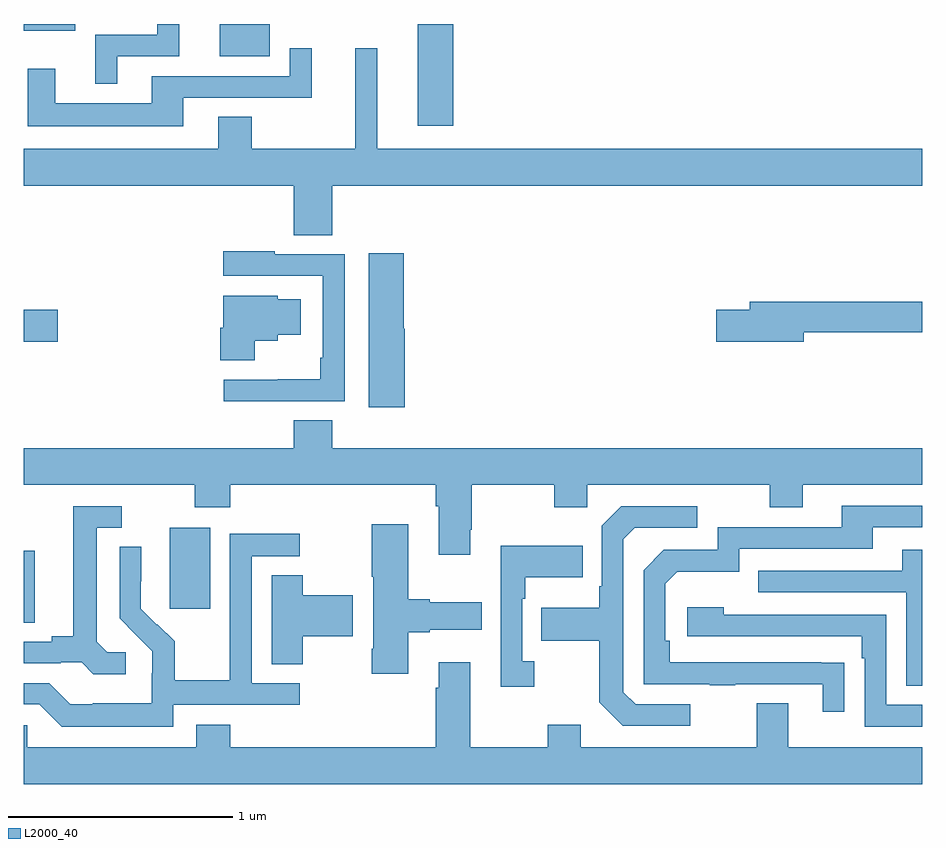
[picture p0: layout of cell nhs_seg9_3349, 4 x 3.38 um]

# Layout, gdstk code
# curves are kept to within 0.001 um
import gdstk
lib = gdstk.Library(unit=1e-6, precision=1e-09)
def R(c, l, rs):  # rectangles x0, y0, x1, y1
    for r in rs: c.add(gdstk.rectangle(r[:2], r[2:], *l))
def P(c, l, *ps):  # polygons
    for p in ps: c.add(gdstk.Polygon(p, *l))
L2000_40 = (2000, 40)

nhs_seg9_3349 = lib.new_cell('nhs_seg9_3349')
R(nhs_seg9_3349, L2000_40, [(303,1167.835,303.049,1168.155), (303.65,1167.897,303.829,1168.258), (303,1169.086,303.151,1169.228), (304.754,1170.048,304.913,1170.5), (303.872,1170.356,304.096,1170.5), (303,1170.47,303.229,1170.5)])
P(nhs_seg9_3349, L2000_40, [(303.415,1170.357),(303.692,1170.357),(303.692,1170.5),(303.594,1170.5),(303.594,1170.453),(303.317,1170.453),(303.317,1170.233),(303.415,1170.233)],
  [(303.709,1170.171),(304.283,1170.171),(304.283,1170.391),(304.185,1170.391),(304.185,1170.267),(303.569,1170.267),(303.569,1170.148),(303.139,1170.148),(303.139,1170.301),(303.018,1170.301),(303.018,1170.044),(303.709,1170.044)],
  [(304.475,1170.391),(304.475,1169.944),(304.014,1169.944),(304.014,1170.086),(303.866,1170.086),(303.866,1169.944),(303,1169.944),(303,1169.78),(304.202,1169.78),(304.202,1169.56),(304.373,1169.56),(304.373,1169.78),(307,1169.78),(307,1169.944),(304.574,1169.944),(304.574,1170.391)],
  [(304.118,1168.821),(304.428,1168.821),(304.428,1169.475),(304.118,1169.475),(304.118,1169.488),(303.888,1169.488),(303.888,1169.379),(304.332,1169.379),(304.332,1169.014),(304.32,1169.014),(304.32,1168.919),(304.131,1168.919),(304.131,1168.917),(303.891,1168.917),(303.891,1168.82),(304.118,1168.82)],
  [(304.696,1169.142),(304.691,1169.142),(304.691,1169.479),(304.535,1169.479),(304.535,1168.794),(304.696,1168.794)],
  [(304.029,1169.09),(304.131,1169.09),(304.131,1169.117),(304.234,1169.117),(304.234,1169.275),(304.131,1169.275),(304.131,1169.29),(303.887,1169.29),(303.887,1169.148),(303.875,1169.148),(303.875,1169.002),(304.029,1169.002)],
  [(306.472,1169.128),(307,1169.128),(307,1169.264),(306.233,1169.264),(306.233,1169.228),(306.084,1169.228),(306.084,1169.086),(306.472,1169.086)],
  [(304.987,1168.249),(304.995,1168.249),(304.995,1168.448),(305.362,1168.448),(305.362,1168.349),(305.508,1168.349),(305.508,1168.448),(306.322,1168.448),(306.322,1168.349),(306.469,1168.349),(306.469,1168.448),(307,1168.448),(307,1168.612),(304.373,1168.612),(304.373,1168.736),(304.202,1168.736),(304.202,1168.612),(303,1168.612),(303,1168.448),(303.76,1168.448),(303.76,1168.349),(303.92,1168.349),(303.92,1168.448),(304.835,1168.448),(304.835,1168.352),(304.847,1168.352),(304.847,1168.137),(304.987,1168.137)],
  [(306.653,1167.656),(305.876,1167.657),(305.876,1167.754),(305.856,1167.754),(305.856,1168.008),(305.909,1168.061),(306.186,1168.061),(306.186,1168.164),(306.781,1168.164),(306.781,1168.26),(307,1168.26),(307,1168.356),(306.641,1168.356),(306.641,1168.26),(306.09,1168.26),(306.09,1168.158),(305.85,1168.158),(305.76,1168.068),(305.76,1167.561),(306.055,1167.561),(306.055,1167.556),(306.167,1167.556),(306.167,1167.561),(306.557,1167.561),(306.557,1167.438),(306.653,1167.438)],
  [(305.968,1167.471),(305.724,1167.471),(305.67,1167.525),(305.67,1168.206),(305.721,1168.257),(305.998,1168.257),(305.998,1168.353),(305.661,1168.353),(305.574,1168.266),(305.574,1167.997),(305.562,1167.997),(305.562,1167.901),(305.305,1167.901),(305.305,1167.754),(305.562,1167.754),(305.562,1167.481),(305.667,1167.375),(305.968,1167.375)],
  [(303.454,1167.702),(303.372,1167.702),(303.325,1167.749),(303.325,1168.257),(303.436,1168.257),(303.436,1168.353),(303.221,1168.353),(303.221,1167.773),(303.125,1167.773),(303.125,1167.75),(303,1167.75),(303,1167.654),(303.164,1167.654),(303.164,1167.657),(303.258,1167.657),(303.31,1167.605),(303.454,1167.605)],
  [(304.711,1167.791),(304.807,1167.791),(304.807,1167.803),(305.038,1167.803),(305.038,1167.925),(304.807,1167.925),(304.807,1167.938),(304.711,1167.938),(304.711,1168.273),(304.549,1168.273),(304.549,1168.039),(304.556,1168.039),(304.556,1167.718),(304.549,1167.718),(304.549,1167.606),(304.711,1167.606)],
  [(303.666,1167.468),(304.228,1167.468),(304.228,1167.564),(304.014,1167.564),(304.014,1168.131),(304.228,1168.131),(304.228,1168.23),(303.918,1168.23),(303.918,1167.8),(303.916,1167.8),(303.916,1167.577),(303.671,1167.577),(303.671,1167.751),(303.594,1167.828),(303.591,1167.825),(303.521,1167.896),(303.522,1168.172),(303.426,1168.172),(303.426,1167.854),(303.572,1167.706),(303.572,1167.609),(303.57,1167.609),(303.57,1167.475),(303.307,1167.475),(303.307,1167.471),(303.207,1167.471),(303.114,1167.564),(303,1167.564),(303,1167.471),(303.069,1167.471),(303.169,1167.371),(303.666,1167.371)],
  [(305.272,1167.662),(305.22,1167.662),(305.22,1167.941),(305.233,1167.941),(305.233,1168.037),(305.489,1168.037),(305.489,1168.177),(305.124,1168.177),(305.124,1167.549),(305.272,1167.549)],
  [(307,1168.159),(306.911,1168.159),(306.911,1168.065),(306.271,1168.065),(306.271,1167.969),(306.93,1167.969),(306.93,1167.553),(307,1167.553)],
  [(304.242,1167.773),(304.465,1167.773),(304.465,1167.956),(304.242,1167.956),(304.242,1168.046),(304.103,1168.046),(304.103,1167.649),(304.242,1167.649)],
  [(307,1167.468),(306.84,1167.468),(306.84,1167.87),(306.116,1167.87),(306.116,1167.904),(305.955,1167.904),(305.955,1167.774),(306.731,1167.774),(306.731,1167.677),(306.744,1167.677),(306.744,1167.372),(307,1167.372)],
  [(307,1167.28),(306.403,1167.28),(306.403,1167.475),(306.263,1167.475),(306.263,1167.28),(305.479,1167.28),(305.479,1167.379),(305.332,1167.379),(305.332,1167.28),(304.987,1167.28),(304.987,1167.658),(304.847,1167.658),(304.847,1167.545),(304.835,1167.545),(304.835,1167.28),(303.92,1167.28),(303.92,1167.379),(303.767,1167.379),(303.767,1167.28),(303.015,1167.28),(303.015,1167.378),(303,1167.378),(303,1167.116),(307,1167.116)])

lib.write_gds('nhs_seg9_3349.gds')
